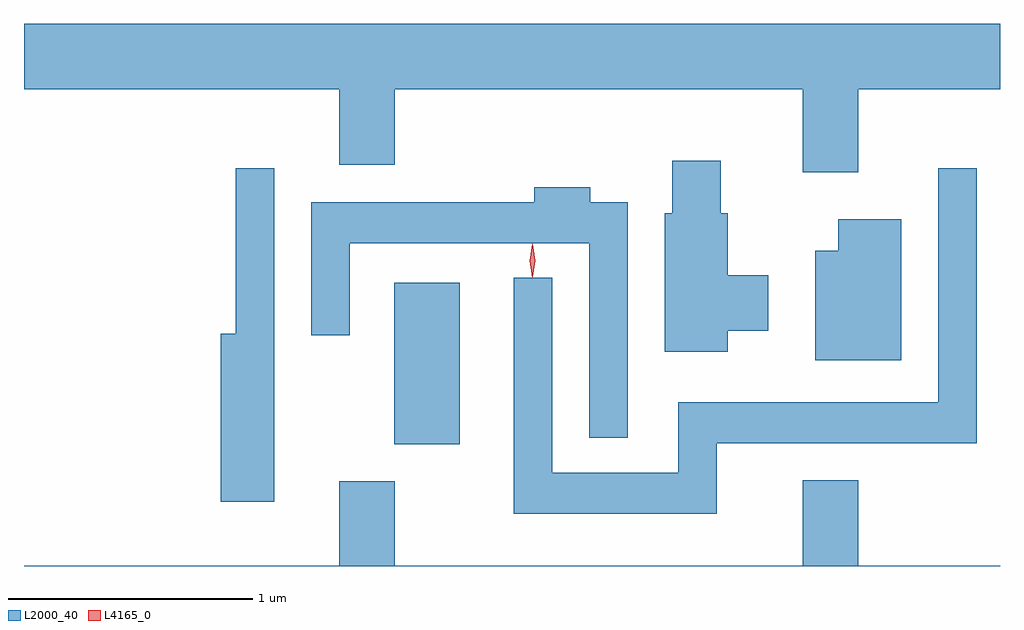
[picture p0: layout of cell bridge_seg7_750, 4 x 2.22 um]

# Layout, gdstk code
import gdstk
lib = gdstk.Library(unit=1e-6, precision=1e-09)
def R(c, l, rs):  # rectangles x0, y0, x1, y1
    for r in rs: c.add(gdstk.rectangle(r[:2], r[2:], *l))
def P(c, l, *ps):  # polygons
    for p in ps: c.add(gdstk.Polygon(p, *l))
L2000_40 = (2000, 40)
L4165_0 = (4165, 0)

bridge_seg7_750 = lib.new_cell('bridge_seg7_750')
R(bridge_seg7_750, L2000_40, [(499.796,1759.481,500.064,1760.144)])
P(bridge_seg7_750, L2000_40, [(501.699,1760.936),(502.279,1760.936),(502.279,1761.204),(498.279,1761.204),(498.279,1760.936),(499.571,1760.936),(499.571,1760.626),(499.799,1760.626),(499.799,1760.936),(501.471,1760.936),(501.471,1760.596),(501.699,1760.596)],
  [(501.164,1759.946),(501.329,1759.946),(501.329,1760.174),(501.164,1760.174),(501.164,1760.429),(501.134,1760.429),(501.134,1760.644),(500.936,1760.644),(500.936,1760.429),(500.906,1760.429),(500.906,1759.861),(501.164,1759.861)],
  [(499.304,1760.613),(499.146,1760.613),(499.146,1759.934),(499.086,1759.934),(499.086,1759.246),(499.304,1759.246)],
  [(501.119,1759.486),(502.184,1759.486),(502.184,1760.613),(502.026,1760.613),(502.026,1759.654),(500.961,1759.654),(500.961,1759.364),(500.444,1759.364),(500.444,1760.163),(500.286,1760.163),(500.286,1759.196),(501.119,1759.196)],
  [(500.754,1760.474),(500.599,1760.474),(500.599,1760.534),(500.371,1760.534),(500.371,1760.474),(499.456,1760.474),(499.456,1759.928),(499.614,1759.928),(499.614,1760.306),(500.596,1760.306),(500.596,1759.508),(500.754,1759.508)],
  [(501.874,1760.404),(501.616,1760.404),(501.616,1760.274),(501.521,1760.274),(501.521,1759.826),(501.874,1759.826)],
  [(502.279,1758.984),(501.699,1758.984),(501.699,1759.334),(501.471,1759.334),(501.471,1758.984),(499.799,1758.984),(499.799,1759.329),(499.571,1759.329),(499.571,1758.984),(498.279,1758.984),(498.279,1758.982),(502.279,1758.982)])
P(bridge_seg7_750, L4165_0, [(500.362,1760.164),(500.362,1760.164),(500.352,1760.233),(500.362,1760.302),(500.362,1760.303),(500.363,1760.302),(500.372,1760.233),(500.363,1760.164)],
  [(500.364,1760.167),(500.355,1760.234),(500.364,1760.3),(500.365,1760.3),(500.365,1760.3),(500.375,1760.234),(500.365,1760.167),(500.365,1760.167)])

lib.write_gds('bridge_seg7_750.gds')
